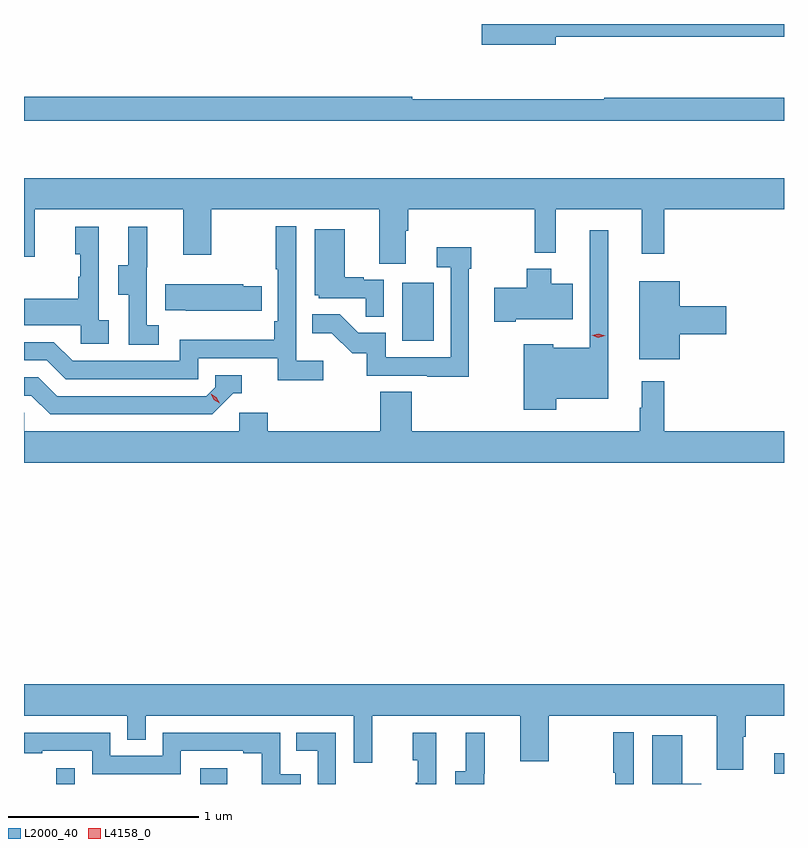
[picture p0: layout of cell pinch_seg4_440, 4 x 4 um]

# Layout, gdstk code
import gdstk
lib = gdstk.Library(unit=1e-6, precision=1e-09)
def R(c, l, rs):  # rectangles x0, y0, x1, y1
    for r in rs: c.add(gdstk.rectangle(r[:2], r[2:], *l))
def P(c, l, *ps):  # polygons
    for p in ps: c.add(gdstk.Polygon(p, *l))
L2000_40 = (2000, 40)
L4158_0 = (4158, 0)

pinch_seg4_440 = lib.new_cell('pinch_seg4_440')
R(pinch_seg4_440, L2000_40, [(897.473,776.48,897.57,776.563), (898.229,776.48,898.373,776.563), (901.251,776.535,901.302,776.641), (899.294,778.812,899.458,779.119)])
P(pinch_seg4_440, L2000_40, [(900.1,780.414),(901.302,780.414),(901.302,780.48),(899.712,780.48),(899.712,780.371),(900.1,780.371)],
  [(901.302,780.091),(900.355,780.091),(900.355,780.083),(899.345,780.083),(899.345,780.098),(897.302,780.098),(897.302,779.97),(901.302,779.97)],
  [(899.311,779.392),(899.324,779.392),(899.324,779.504),(899.991,779.504),(899.991,779.276),(900.101,779.276),(900.101,779.504),(900.554,779.504),(900.554,779.271),(900.671,779.271),(900.671,779.504),(901.302,779.504),(901.302,779.668),(897.302,779.668),(897.302,779.256),(897.359,779.256),(897.359,779.504),(898.139,779.504),(898.139,779.265),(898.287,779.265),(898.287,779.504),(899.171,779.504),(899.171,779.218),(899.311,779.218)],
  [(898.876,778.708),(898.734,778.708),(898.734,779.416),(898.626,779.416),(898.626,779.188),(898.638,779.188),(898.638,778.915),(898.618,778.915),(898.618,778.819),(898.122,778.819),(898.122,778.707),(897.558,778.707),(897.459,778.806),(897.302,778.806),(897.302,778.71),(897.422,778.71),(897.521,778.611),(898.218,778.611),(898.218,778.722),(898.637,778.722),(898.637,778.606),(898.876,778.606)],
  [(898.012,778.895),(897.948,778.895),(897.948,779.199),(897.95,779.199),(897.95,779.413),(897.851,779.413),(897.851,779.211),(897.797,779.211),(897.797,779.056),(897.852,779.056),(897.852,778.792),(898.012,778.792)],
  [(897.748,778.922),(897.696,778.922),(897.696,779.413),(897.572,779.413),(897.572,779.268),(897.598,779.268),(897.598,779.15),(897.588,779.15),(897.588,779.035),(897.302,779.035),(897.302,778.895),(897.6,778.895),(897.6,778.797),(897.748,778.797)],
  [(899.196,779.133),(899.09,779.133),(899.09,779.146),(898.99,779.146),(898.99,779.401),(898.832,779.401),(898.832,779.052),(898.854,779.052),(898.854,779.037),(899.101,779.037),(899.101,778.939),(899.196,778.939)],
  [(900.103,778.508),(900.376,778.508),(900.376,779.395),(900.279,779.395),(900.279,778.777),(900.087,778.777),(900.087,778.795),(899.933,778.795),(899.933,778.451),(900.103,778.451)],
  [(899.644,779.192),(899.656,779.192),(899.656,779.305),(899.475,779.305),(899.475,779.199),(899.547,779.199),(899.547,778.725),(899.205,778.725),(899.205,778.854),(899.061,778.854),(898.963,778.952),(898.819,778.952),(898.819,778.853),(898.923,778.853),(899.03,778.746),(899.107,778.746),(899.107,778.629),(899.425,778.629),(899.425,778.624),(899.644,778.624)],
  [(899.89,778.925),(900.19,778.925),(900.19,779.113),(900.076,779.113),(900.076,779.191),(899.947,779.191),(899.947,779.091),(899.778,779.091),(899.778,778.913),(899.89,778.913)],
  [(900.754,778.847),(900.997,778.847),(900.997,778.994),(900.754,778.994),(900.754,779.125),(900.539,779.125),(900.539,778.715),(900.754,778.715)],
  [(898.553,779.1),(898.455,779.1),(898.455,779.11),(898.045,779.11),(898.045,778.973),(898.153,778.973),(898.153,778.97),(898.553,778.97)],
  [(898.404,778.536),(898.447,778.536),(898.447,778.632),(898.308,778.632),(898.308,778.569),(898.26,778.521),(897.477,778.521),(897.378,778.62),(897.302,778.62),(897.302,778.524),(897.341,778.524),(897.44,778.425),(898.293,778.425)],
  [(901.302,778.336),(900.671,778.336),(900.671,778.6),(900.554,778.6),(900.554,778.46),(900.543,778.46),(900.543,778.336),(899.342,778.336),(899.342,778.544),(899.177,778.544),(899.177,778.336),(898.586,778.336),(898.586,778.434),(898.434,778.434),(898.434,778.336),(897.303,778.336),(897.303,778.434),(897.302,778.434),(897.302,778.172),(901.302,778.172)],
  [(901.087,776.728),(901.1,776.728),(901.1,776.84),(901.302,776.84),(901.302,777.004),(897.302,777.004),(897.302,776.84),(897.846,776.84),(897.846,776.713),(897.942,776.713),(897.942,776.84),(899.037,776.84),(899.037,776.592),(899.135,776.592),(899.135,776.84),(899.915,776.84),(899.915,776.601),(900.063,776.601),(900.063,776.84),(900.947,776.84),(900.947,776.554),(901.087,776.554)],
  [(900.51,776.752),(900.402,776.752),(900.402,776.539),(900.413,776.539),(900.413,776.48),(900.51,776.48)],
  [(898.944,776.751),(898.735,776.751),(898.735,776.655),(898.848,776.655),(898.848,776.48),(898.944,776.48)],
  [(898.758,776.532),(898.65,776.532),(898.65,776.751),(898.032,776.751),(898.032,776.628),(897.756,776.628),(897.756,776.751),(897.302,776.751),(897.302,776.643),(897.397,776.643),(897.397,776.655),(897.66,776.655),(897.66,776.532),(898.128,776.532),(898.128,776.655),(898.457,776.655),(898.457,776.643),(898.553,776.643),(898.553,776.48),(898.758,776.48)],
  [(899.472,776.749),(899.348,776.749),(899.348,776.604),(899.374,776.604),(899.374,776.486),(899.364,776.486),(899.364,776.48),(899.472,776.48)],
  [(899.724,776.535),(899.726,776.535),(899.726,776.749),(899.627,776.749),(899.627,776.547),(899.573,776.547),(899.573,776.48),(899.724,776.48)],
  [(900.866,776.482),(900.766,776.482),(900.766,776.737),(900.608,776.737),(900.608,776.48),(900.866,776.48)])
P(pinch_seg4_440, L4158_0, [(898.331,778.483),(898.3,778.502),(898.284,778.535),(898.284,778.535),(898.285,778.535),(898.315,778.516),(898.331,778.483),(898.331,778.483)],
  [(900.324,778.83),(900.29,778.842),(900.289,778.842),(900.29,778.842),(900.326,778.85),(900.361,778.838),(900.361,778.838),(900.361,778.838)])

lib.write_gds('pinch_seg4_440.gds')
